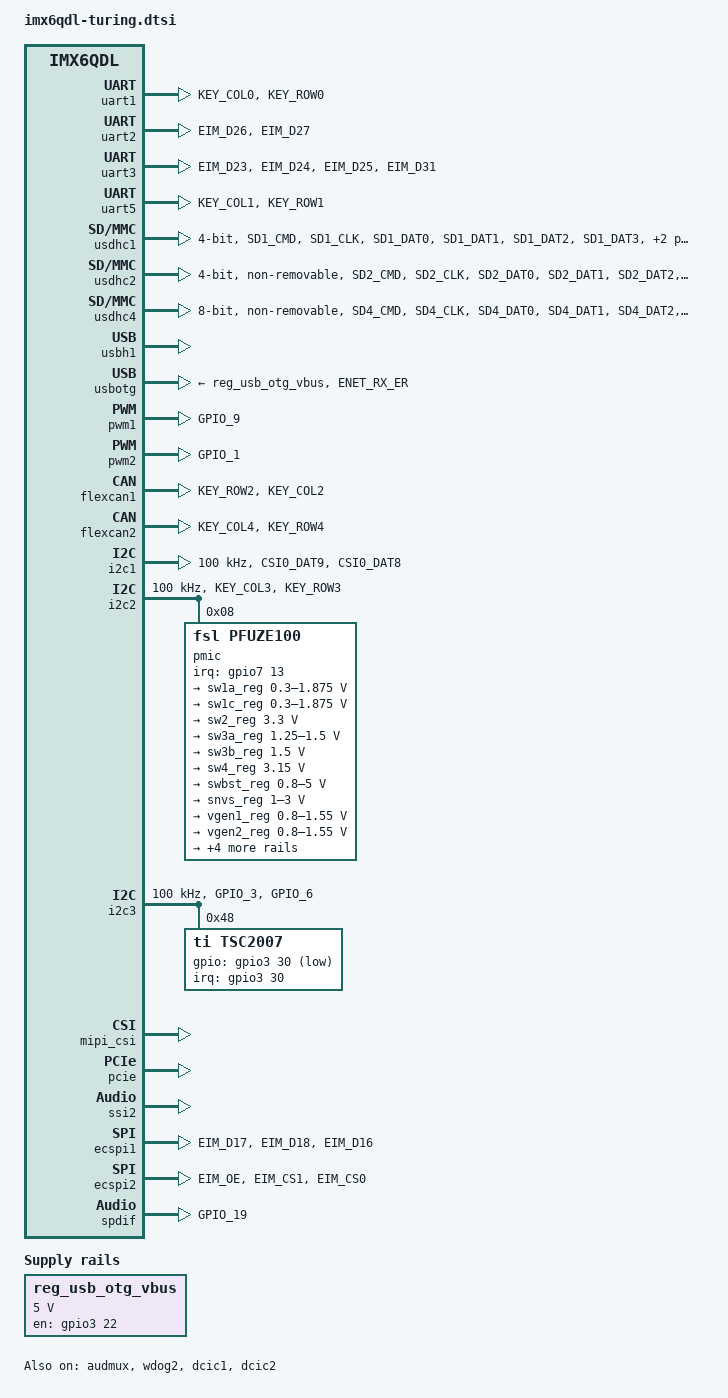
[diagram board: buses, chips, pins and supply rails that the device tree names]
/*
 * Copyright (C) 2016 Turing Computer.
 */

#include "imx6qdl.dtsi"
#include <dt-bindings/gpio/gpio.h>

/ {
	regulators {
		compatible = "simple-bus";
		#address-cells = <1>;
		#size-cells = <0>;

		reg_usb_otg_vbus: regulator@0 {
			compatible = "regulator-fixed";
			reg = <0>;
			regulator-name = "usb_otg_vbus";
			regulator-min-microvolt = <5000000>;
			regulator-max-microvolt = <5000000>;
			gpio = <&gpio3 22 GPIO_ACTIVE_HIGH>;
			enable-active-high;
		};
	};

	lcd@0 {
		compatible = "fsl,lcd";
		ipu_id = <0>;
		disp_id = <0>;
		default_ifmt = "RGB24";
		pinctrl-names = "default";
		pinctrl-0 = <&pinctrl_ipu>;
	};

	v4l2_cap_0 {
		compatible = "fsl,imx6q-v4l2-capture";
		ipu_id = <0>;
		csi_id = <0>;
		mclk_source = <0>;
		status = "okay";
	};

	v4l2_cap_1 {
		compatible = "fsl,imx6q-v4l2-capture";
		ipu_id = <0>;
		csi_id = <1>;
		mclk_source = <0>;
		status = "okay";
	};

	v4l2_out {
		compatible = "fsl,mxc_v4l2_output";
		status = "okay";
	};

};

&iomuxc {
	pinctrl-names = "default";
	pinctrl-0 = <&pinctrl_hog>;

	imx6qdl-turing {
	
		pinctrl_uart1: pinmux-uart1 {
			fsl,pins = <
				MX6QDL_PAD_KEY_COL0__UART4_TX_DATA	0x1b0b1
				MX6QDL_PAD_KEY_ROW0__UART4_RX_DATA	0x1b0b1
			>;
		};

		pinctrl_uart2: pinmux-uart2 {
			fsl,pins = <
				MX6QDL_PAD_EIM_D26__UART2_TX_DATA	0x1b0b1
				MX6QDL_PAD_EIM_D27__UART2_RX_DATA	0x1b0b1
			>;
		};

		pinctrl_uart3: pinmux-uart3 {
			fsl,pins = <
				MX6QDL_PAD_EIM_D23__UART3_CTS_B		0x1b0b1
				MX6QDL_PAD_EIM_D24__UART3_RX_DATA	0x1b0b1
				MX6QDL_PAD_EIM_D25__UART3_TX_DATA	0x1b0b1
				MX6QDL_PAD_EIM_D31__UART3_RTS_B		0x1b0b1
			>;
		};

		pinctrl_uart5: pinmux-uart5 {
			fsl,pins = <
				MX6QDL_PAD_KEY_COL1__UART5_TX_DATA	0x1b0b1
				MX6QDL_PAD_KEY_ROW1__UART5_RX_DATA	0x1b0b1
			>;
		};

		pinctrl_usdhc1: pinmux-usdhc1 {
			fsl,pins = <
				MX6QDL_PAD_SD1_CMD__SD1_CMD    0x070b1
				MX6QDL_PAD_SD1_CLK__SD1_CLK    0x070b1
				MX6QDL_PAD_SD1_DAT0__SD1_DATA0 0x070b1
				MX6QDL_PAD_SD1_DAT1__SD1_DATA1 0x070b1
				MX6QDL_PAD_SD1_DAT2__SD1_DATA2 0x070b1
				MX6QDL_PAD_SD1_DAT3__SD1_DATA3 0x070b1
			>;
		};

		pinctrl_usdhc2: pinmux-usdhc2 {
			fsl,pins = <
				MX6QDL_PAD_SD2_CMD__SD2_CMD    0x070b1
				MX6QDL_PAD_SD2_CLK__SD2_CLK    0x070b1
				MX6QDL_PAD_SD2_DAT0__SD2_DATA0 0x070b1
				MX6QDL_PAD_SD2_DAT1__SD2_DATA1 0x070b1
				MX6QDL_PAD_SD2_DAT2__SD2_DATA2 0x070b1
				MX6QDL_PAD_SD2_DAT3__SD2_DATA3 0x070b1
			>;
		};

		pinctrl_usdhc4: pinmux-usdhc4 {
			fsl,pins = <
				MX6QDL_PAD_SD4_CMD__SD4_CMD    0x070b1
				MX6QDL_PAD_SD4_CLK__SD4_CLK    0x070b1
				MX6QDL_PAD_SD4_DAT0__SD4_DATA0 0x070b1
				MX6QDL_PAD_SD4_DAT1__SD4_DATA1 0x070b1
				MX6QDL_PAD_SD4_DAT2__SD4_DATA2 0x070b1
				MX6QDL_PAD_SD4_DAT3__SD4_DATA3 0x070b1
				MX6QDL_PAD_SD4_DAT4__SD4_DATA4 0x070b1
				MX6QDL_PAD_SD4_DAT5__SD4_DATA5 0x070b1
				MX6QDL_PAD_SD4_DAT6__SD4_DATA6 0x070b1
				MX6QDL_PAD_SD4_DAT7__SD4_DATA7 0x070b1
			>;
		};

		pinctrl_usbotg: pinmux-usbotg {
			fsl,pins = <
				MX6QDL_PAD_ENET_RX_ER__USB_OTG_ID	0x17059
			>;
		};

		pinctrl_pwm1: pinmux-pwm1 {
			fsl,pins = <
				MX6QDL_PAD_GPIO_9__PWM1_OUT		0x1b0b1
			>;
		};

		pinctrl_pwm2: pinmux-pwm2 {
			fsl,pins = <
				MX6QDL_PAD_GPIO_1__PWM2_OUT		0x1b0b1
			>;
		};

		pinctrl_flexcan1: pinmux-flexcan1 {
			fsl,pins = <
				MX6QDL_PAD_KEY_ROW2__FLEXCAN1_RX	0x80000000
				MX6QDL_PAD_KEY_COL2__FLEXCAN1_TX	0x80000000
			>;
		};

		pinctrl_flexcan2: pinmux-flexcan2 {
			fsl,pins = <
				MX6QDL_PAD_KEY_COL4__FLEXCAN2_TX	0x80000000
				MX6QDL_PAD_KEY_ROW4__FLEXCAN2_RX	0x80000000
			>;
		};

		pinctrl_i2c1: pinmux-i2c1 {
			fsl,pins = <
				MX6QDL_PAD_CSI0_DAT9__I2C1_SCL  	0x4001b8b1
				MX6QDL_PAD_CSI0_DAT8__I2C1_SDA 		0x4001b8b1
			>;
		};

		pinctrl_i2c2: pinmux-i2c2 {
			fsl,pins = <
				MX6QDL_PAD_KEY_COL3__I2C2_SCL  		0x4001b8b1
				MX6QDL_PAD_KEY_ROW3__I2C2_SDA 		0x4001b8b1
			>;
		};

		pinctrl_i2c3: pinmux-i2c3 {
			fsl,pins = <
				MX6QDL_PAD_GPIO_3__I2C3_SCL  		0x4001b8b1
				MX6QDL_PAD_GPIO_6__I2C3_SDA 		0x4001b8b1
			>;
		};

		pinctrl_ecspi1: pinmux-spi0 {
			fsl,pins = <
				MX6QDL_PAD_EIM_D17__ECSPI1_MISO		0x100b1
				MX6QDL_PAD_EIM_D18__ECSPI1_MOSI		0x100b1
				MX6QDL_PAD_EIM_D16__ECSPI1_SCLK		0x100b1
			>;
		};

		pinctrl_ecspi2: pinmux-spi1 {
			fsl,pins = <
				MX6QDL_PAD_EIM_OE__ECSPI2_MISO		0x100b1
				MX6QDL_PAD_EIM_CS1__ECSPI2_MOSI		0x100b1
				MX6QDL_PAD_EIM_CS0__ECSPI2_SCLK		0x100b1
			>;
		};

		pinctrl_audmux3: pinmux-audmux0 {
			fsl,pins = <
				MX6QDL_PAD_CSI0_DAT7__AUD3_RXD		0x130b0
				MX6QDL_PAD_CSI0_DAT4__AUD3_TXC		0x130b0
				MX6QDL_PAD_CSI0_DAT5__AUD3_TXD		0x110b0
				MX6QDL_PAD_CSI0_DAT6__AUD3_TXFS		0x130b0
			>;
		};

		pinctrl_audmux4: pinmux-audmux1 {
			fsl,pins = <
				MX6QDL_PAD_SD2_DAT0__AUD4_RXD		0x130b0
				MX6QDL_PAD_SD2_DAT3__AUD4_TXC		0x130b0
				MX6QDL_PAD_SD2_DAT2__AUD4_TXD		0x110b0
				MX6QDL_PAD_SD2_DAT1__AUD4_TXFS		0x130b0
				MX6QDL_PAD_SD2_CLK__AUD4_RXFS		0x130b0
				MX6QDL_PAD_SD2_CMD__AUD4_RXC 		0x130b0
			>;
		};

		pinctrl_ipu: pinmux-ipu { /* parallel rgb */
			fsl,pins = <
				MX6QDL_PAD_DI0_DISP_CLK__IPU1_DI0_DISP_CLK 0x10
				MX6QDL_PAD_DI0_PIN15__IPU1_DI0_PIN15       0x10
				MX6QDL_PAD_DI0_PIN2__IPU1_DI0_PIN02        0x10
				MX6QDL_PAD_DI0_PIN3__IPU1_DI0_PIN03        0x10
				MX6QDL_PAD_DISP0_DAT0__IPU1_DISP0_DATA00   0x10
				MX6QDL_PAD_DISP0_DAT1__IPU1_DISP0_DATA01   0x10
				MX6QDL_PAD_DISP0_DAT2__IPU1_DISP0_DATA02   0x10
				MX6QDL_PAD_DISP0_DAT3__IPU1_DISP0_DATA03   0x10
				MX6QDL_PAD_DISP0_DAT4__IPU1_DISP0_DATA04   0x10
				MX6QDL_PAD_DISP0_DAT5__IPU1_DISP0_DATA05   0x10
				MX6QDL_PAD_DISP0_DAT6__IPU1_DISP0_DATA06   0x10
				MX6QDL_PAD_DISP0_DAT7__IPU1_DISP0_DATA07   0x10
				MX6QDL_PAD_DISP0_DAT8__IPU1_DISP0_DATA08   0x10
				MX6QDL_PAD_DISP0_DAT9__IPU1_DISP0_DATA09   0x10
				MX6QDL_PAD_DISP0_DAT10__IPU1_DISP0_DATA10  0x10
				MX6QDL_PAD_DISP0_DAT11__IPU1_DISP0_DATA11  0x10
				MX6QDL_PAD_DISP0_DAT12__IPU1_DISP0_DATA12  0x10
				MX6QDL_PAD_DISP0_DAT13__IPU1_DISP0_DATA13  0x10
				MX6QDL_PAD_DISP0_DAT14__IPU1_DISP0_DATA14  0x10
				MX6QDL_PAD_DISP0_DAT15__IPU1_DISP0_DATA15  0x10
				MX6QDL_PAD_DISP0_DAT16__IPU1_DISP0_DATA16  0x10
				MX6QDL_PAD_DISP0_DAT17__IPU1_DISP0_DATA17  0x10
				MX6QDL_PAD_DISP0_DAT18__IPU1_DISP0_DATA18  0x10
				MX6QDL_PAD_DISP0_DAT19__IPU1_DISP0_DATA19  0x10
				MX6QDL_PAD_DISP0_DAT20__IPU1_DISP0_DATA20  0x10
				MX6QDL_PAD_DISP0_DAT21__IPU1_DISP0_DATA21  0x10
				MX6QDL_PAD_DISP0_DAT22__IPU1_DISP0_DATA22  0x10
				MX6QDL_PAD_DISP0_DAT23__IPU1_DISP0_DATA23  0x10
			>;
		};

		pinctrl_csi: pinmux-csi { /* parallel camera */
			fsl,pins = <
				MX6QDL_PAD_CSI0_DAT12__IPU1_CSI0_DATA12    0x80000000
				MX6QDL_PAD_CSI0_DAT13__IPU1_CSI0_DATA13    0x80000000
				MX6QDL_PAD_CSI0_DAT14__IPU1_CSI0_DATA14    0x80000000
				MX6QDL_PAD_CSI0_DAT15__IPU1_CSI0_DATA15    0x80000000
				MX6QDL_PAD_CSI0_DAT16__IPU1_CSI0_DATA16    0x80000000
				MX6QDL_PAD_CSI0_DAT17__IPU1_CSI0_DATA17    0x80000000
				MX6QDL_PAD_CSI0_DAT18__IPU1_CSI0_DATA18    0x80000000
				MX6QDL_PAD_CSI0_DAT19__IPU1_CSI0_DATA19    0x80000000
				MX6QDL_PAD_CSI0_PIXCLK__IPU1_CSI0_PIXCLK   0x80000000
				MX6QDL_PAD_CSI0_MCLK__IPU1_CSI0_HSYNC      0x80000000
				MX6QDL_PAD_CSI0_VSYNC__IPU1_CSI0_VSYNC     0x80000000
			>;
		};
		
		pinctrl_spdif: pinmux-spdif {
			fsl,pins = <
				MX6QDL_PAD_GPIO_19__SPDIF_OUT 				0x13091
			>;
		};
		
		pinctrl_hog: hoggrp { /* GPIO */
			fsl,pins = <
				MX6QDL_PAD_GPIO_8__GPIO1_IO08 				0x80000000		/* GPIO00 PIN 045 as GPIO(1, 8)    */
				MX6QDL_PAD_EIM_D20__GPIO3_IO20 				0x80000000		/* GPIO01 PIN 092 as GPIO(3, 20)   */
				MX6QDL_PAD_ENET_MDIO__GPIO1_IO22			0x80000000		/* GPIO02 PIN 043 as GPIO(1, 22)   */
				MX6QDL_PAD_ENET_TXD0__GPIO1_IO30			0x80000000		/* GPIO03 PIN 142 as GPIO(1, 30)   */
				MX6QDL_PAD_ENET_REF_CLK__GPIO1_IO23			0x80000000		/* GPIO04 PIN 110 as GPIO(1, 23)   */
				MX6QDL_PAD_ENET_TXD1__GPIO1_IO29			0x80000000		/* GPIO05 PIN 047 as GPIO(1, 29)   */
				MX6QDL_PAD_EIM_D29__GPIO3_IO29 				0x80000000		/* GPIO06 PIN 121 as GPIO(3, 29)   */
				MX6QDL_PAD_ENET_RXD0__GPIO1_IO27			0x80000000		/* GPIO07 PIN 160 as GPIO(1, 27)   */
				MX6QDL_PAD_EIM_A25__GPIO5_IO02 				0x80000000		/* GPIO08 PIN 001 as GPIO(5, 2)    */
				MX6QDL_PAD_ENET_MDC__GPIO1_IO31				0x80000000		/* GPIO09 PIN 139 as GPIO(1, 31)   */
				MX6QDL_PAD_NANDF_CS1__GPIO6_IO14			0x80000000		/* GPIO10 PIN 017 as GPIO(6, 14)   */
				MX6QDL_PAD_NANDF_CS3__GPIO6_IO16			0x80000000		/* GPIO11 PIN 117 as GPIO(6, 16)   */
				MX6QDL_PAD_NANDF_D1__GPIO2_IO01				0x80000000		/* GPIO12 PIN 140 as GPIO(2, 1)    */
				MX6QDL_PAD_NANDF_D2__GPIO2_IO02				0x80000000		/* GPIO13 PIN 134 as GPIO(2, 2)    */
				MX6QDL_PAD_NANDF_D3__GPIO2_IO03				0x80000000		/* GPIO14 PIN 162 as GPIO(2, 3)    */
				MX6QDL_PAD_NANDF_D4__GPIO2_IO04				0x80000000		/* GPIO15 PIN 122 as GPIO(2, 4)    */
				MX6QDL_PAD_NANDF_D5__GPIO2_IO05				0x80000000		/* GPIO16 PIN 157 as GPIO(2, 5)    */
				MX6QDL_PAD_NANDF_CLE__GPIO6_IO07			0x80000000		/* GPIO17 PIN 141 as GPIO(6, 7)    */
				MX6QDL_PAD_SD3_RST__GPIO7_IO08 				0x80000000		/* GPIO18 PIN 149 as GPIO(7, 8)    */
				MX6QDL_PAD_NANDF_WP_B__GPIO6_IO09			0x80000000		/* GPIO19 PIN 124 as GPIO(6, 9)    */
				MX6QDL_PAD_NANDF_CS0__GPIO6_IO11			0x80000000		/* GPIO20 PIN 146 as GPIO(6, 11)   */
				MX6QDL_PAD_NANDF_RB0__GPIO6_IO10			0x80000000		/* GPIO21 PIN 148 as GPIO(6, 10)   */
				MX6QDL_PAD_SD3_DAT6__GPIO6_IO18				0x80000000		/* GPIO22 PIN 133 as GPIO(6, 18)   */
				MX6QDL_PAD_SD3_DAT4__GPIO7_IO01				0x80000000		/* GPIO23 PIN 119 as GPIO(7, 1)    */
				MX6QDL_PAD_GPIO_17__GPIO7_IO12 				0x80000000		/* GPIO24 PIN 163 as GPIO(7, 12)   */
				MX6QDL_PAD_SD3_DAT5__GPIO7_IO00				0x80000000		/* GPIO25 PIN 164 as GPIO(7, 0)    */
				MX6QDL_PAD_SD3_DAT7__GPIO6_IO17				0x80000000		/* GPIO26 PIN 147 as GPIO(6, 17)   */
				MX6QDL_PAD_EIM_D28__GPIO3_IO28 				0x80000000		/* GPIO27 PIN 159 as GPIO(3, 28)   */
				MX6QDL_PAD_EIM_LBA__GPIO2_IO27 				0x80000000		/* GPIO28 PIN 145 as GPIO(2, 27)   */
				MX6QDL_PAD_EIM_D19__GPIO3_IO19 				0x80000000		/* GPIO29 PIN 158 as GPIO(3, 19)   */
				
				MX6QDL_PAD_DI0_PIN4__GPIO4_IO20				0x80000000		/* SDIO1 WP PIN 077 as GPIO(4, 20) */
				MX6QDL_PAD_NANDF_D0__GPIO2_IO00				0x80000000		/* SDIO1 CD PIN 120 as GPIO(2, 0)  */
				
				MX6QDL_PAD_GPIO_18__GPIO7_IO13 				0x80000000		/* PMIC INT as GPIO(7, 13)         */
				MX6QDL_PAD_EIM_D30__GPIO3_IO30 				0x80000000		/* TOUCHSCREEN INT as GPIO(3, 30)  */
				MX6QDL_PAD_EIM_D22__GPIO3_IO22 				0x80000000		/* OTG VBUS PWR EN as GPIO(3, 22)  */
				
			>;
		};
	};
};

&uart1 {
	pinctrl-names = "default";
	pinctrl-0 = <&pinctrl_uart1>;
	status = "okay";
};

&uart2 {
	pinctrl-names = "default";
	pinctrl-0 = <&pinctrl_uart2>;
	status = "okay";
};

&uart3 {
	pinctrl-names = "default";
	pinctrl-0 = <&pinctrl_uart3>;
	fsl,uart-has-rtscts;
	status = "okay";
};

&uart5 {
	pinctrl-names = "default";
	pinctrl-0 = <&pinctrl_uart5>;
	status = "okay";
};

/* USDHC1 - uSD Card */
&usdhc1 {
	pinctrl-names = "default";
	pinctrl-0 = <&pinctrl_usdhc1>;
	bus-width = <4>;
	cd-gpios = <&gpio2 0 GPIO_ACTIVE_LOW>;
	wp-gpios = <&gpio4 20 GPIO_ACTIVE_LOW>;
	no-1-8-v;
	keep-power-in-suspend;
	enable-sdio-wakeup;
	status = "okay";
};

&usdhc2 {
	pinctrl-names = "default";
	pinctrl-0 = <&pinctrl_usdhc2>;
	bus-width = <4>;
	non-removable;
	no-1-8-v;
	keep-power-in-suspend;
	status = "okay";
};

/* USDHC4 - eMMC */
&usdhc4 {
	pinctrl-names = "default";
	pinctrl-0 = <&pinctrl_usdhc4>;
	bus-width = <8>;
	non-removable;
	no-1-8-v;
	keep-power-in-suspend;
	status = "okay";
};

&usbh1 {
	status = "okay";
};

&usbotg {
	vbus-supply = <&reg_usb_otg_vbus>;
	pinctrl-names = "default";
	pinctrl-0 = <&pinctrl_usbotg>;
	disable-over-current;
	status = "okay";
};

&pwm1 {
	pinctrl-names = "default";
	pinctrl-0 = <&pinctrl_pwm1>;
	status = "okay";
};

&pwm2 {
	pinctrl-names = "default";
	pinctrl-0 = <&pinctrl_pwm2>;
	status = "okay";
};

&flexcan1 {
	pinctrl-names = "default";
	pinctrl-0 = <&pinctrl_flexcan1>;
	status = "okay";
};

&flexcan2 {
	pinctrl-names = "default";
	pinctrl-0 = <&pinctrl_flexcan2>;
	status = "okay";
};

&i2c1 {
	clock-frequency = <100000>;
	pinctrl-names = "default";
	pinctrl-0 = <&pinctrl_i2c1>;
	status = "okay";
};

&i2c2 {
	clock-frequency = <100000>;
	pinctrl-names = "default";
	pinctrl-0 = <&pinctrl_i2c2>;
	status = "okay";

	pmic: pfuze100@08 {
		compatible = "fsl,pfuze100";
		reg = <0x08>;
		interrupt-parent = <&gpio7>;
		interrupts = <13 0x8>;

		regulators {
			sw1a_reg: sw1ab {
				regulator-min-microvolt = <300000>;
				regulator-max-microvolt = <1875000>;
				regulator-boot-on;
				regulator-always-on;
				regulator-ramp-delay = <6250>;
			};

			sw1c_reg: sw1c {
				regulator-min-microvolt = <300000>;
				regulator-max-microvolt = <1875000>;
				regulator-boot-on;
				regulator-always-on;
				regulator-ramp-delay = <6250>;
			};

			sw2_reg: sw2 {
				regulator-min-microvolt = <3300000>;
				regulator-max-microvolt = <3300000>;
				regulator-boot-on;
				regulator-always-on;
			};

			sw3a_reg: sw3a {
				regulator-min-microvolt = <1250000>;
				regulator-max-microvolt = <1500000>;
				regulator-boot-on;
				regulator-always-on;
			};

			sw3b_reg: sw3b {
				regulator-min-microvolt = <1500000>;
				regulator-max-microvolt = <1500000>;
				regulator-boot-on;
				regulator-always-on;
			};

			sw4_reg: sw4 {
				regulator-min-microvolt = <3150000>;
				regulator-max-microvolt = <3150000>;
				regulator-boot-on;
				regulator-always-on;
			};

			swbst_reg: swbst {
				regulator-min-microvolt = <800000>;
				regulator-max-microvolt = <5000000>;
			};

			snvs_reg: vsnvs {
				regulator-min-microvolt = <1000000>;
				regulator-max-microvolt = <3000000>;
				regulator-boot-on;
				regulator-always-on;
			};

			vref_reg: vrefddr {
				regulator-boot-on;
				regulator-always-on;
			};

			vgen1_reg: vgen1 {
				regulator-min-microvolt = <800000>;
				regulator-max-microvolt = <1550000>;
			};

			vgen2_reg: vgen2 {
				regulator-min-microvolt = <800000>;
				regulator-max-microvolt = <1550000>;
			};

			vgen3_reg: vgen3 {
				regulator-min-microvolt = <1800000>;
				regulator-max-microvolt = <2500000>;
			};

			vgen4_reg: vgen4 {
				regulator-min-microvolt = <1800000>;
				regulator-max-microvolt = <2800000>;
				regulator-always-on;
			};

			vgen5_reg: vgen5 {
				regulator-min-microvolt = <1800000>;
				regulator-max-microvolt = <2800000>;
				regulator-always-on;
			};

			vgen6_reg: vgen6 {
				regulator-min-microvolt = <1800000>;
				regulator-max-microvolt = <2800000>;
				regulator-always-on;
			};
		};
	};
};

&i2c3 {
	clock-frequency = <100000>;
	pinctrl-names = "default";
	pinctrl-0 = <&pinctrl_i2c3>;
	status = "okay";
	
	tsc2007@48 {
		compatible = "ti,tsc2007";
		reg = <0x48>;
		interrupt-parent = <&gpio3>;
		interrupts = <30 0>;
		gpios = <&gpio3 30 GPIO_ACTIVE_LOW>;
		ti,x-plate-ohms = <400>;
	};
};

&audmux {
	pinctrl-names = "default";
	pinctrl-0 = <&pinctrl_audmux3>;
	status = "okay";
};

&mipi_csi {
	status = "okay";
	ipu_id = <0>;
	csi_id = <1>;
	v_channel = <0>;
	lanes = <2>;
};

&wdog1 {
	status = "disabled";
};

&wdog2 {
	status = "okay";
};

&pcie {
	status = "okay";
};

&audmux {
	pinctrl-names = "default";
	pinctrl-0 = <&pinctrl_audmux3>;
	status = "okay";
};

&ssi2 {
	fsl,mode = "i2s-slave";
	status = "okay";
};

&dcic1 {
	dcic_id = <0>;
	dcic_mux = "dcic-lcdif1";
	status = "okay";
};

&dcic2 {
	dcic_id = <1>;
	dcic_mux = "dcic-lvds";
	status = "okay";
};

&ldb {
	lvds-channel@0 {
		crtc = "ipu1-di0";
	};
};

&cpu0 {
	arm-supply = <&sw1a_reg>;
	soc-supply = <&sw1c_reg>;
};

&ecspi1 {
	pinctrl-names = "default";
	pinctrl-0 = <&pinctrl_ecspi1>;
	status = "okay";
};

&ecspi2 {
	pinctrl-names = "default";
	pinctrl-0 = <&pinctrl_ecspi2>;
	status = "okay";
};

&spdif {
	pinctrl-names = "default";
	pinctrl-0 = <&pinctrl_spdif>;
	status = "okay";
};
